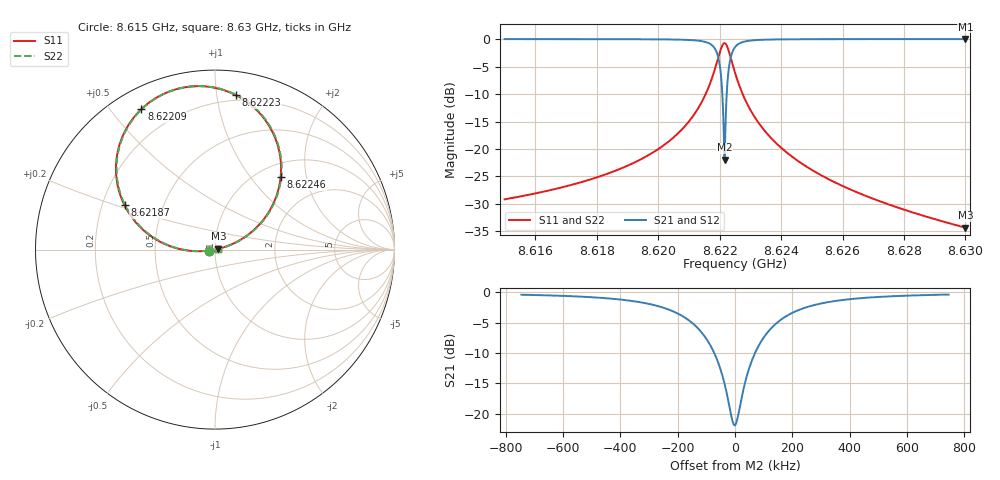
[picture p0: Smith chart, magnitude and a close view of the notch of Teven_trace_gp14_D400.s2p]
! Sonnet Data File
! From: emgraph Version : 16.52
! From Project: 171114transmon_trace_brg2
! Data is De-embedded
! Data File Written: 11/14/2017 18:06:48
!< HDATE 11/14/2017 15:42:32
!< MDATE 11/14/2017 15:42:32
!< PARAMS
!< Lj = 15.24
!< Gap = 14.0
!< Width = 10.0
!< Airgap = 6.0
!< Pwidth = 2000.0
!< Dist = 400.0
!< END PARAMS
# GHZ S MA R 51.90000
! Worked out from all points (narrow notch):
!   3597 points, 8.615 GHz to 8.63 GHz, reference 51.9 ohm
!   highest |S21| = 0.00 dB at 8.63 GHz (marker M1); lowest = -21.9 dB at 8.62216 GHz (marker M2)
!   notch at M2: 21.9 dB deep, 124 kHz wide at half that depth
!   lowest |S11| = -34.3 dB at 8.63 GHz (marker M3), VSWR 1.04, Z = 53.9 + j0.463 ohm
!   |S11| at or under -10 dB: start of sweep to 8.621545 GHz; 8.622748 GHz to end of sweep
!   |S22| runs from -34.3 to -0.7 dB; largest |S21 - S12| = 2.5e-12
!   S11 on the Smith chart (normalised r, x): 8.615 GHz: 0.93, -0.01; 8.62187 GHz: 0.29, +0.21; 8.62209 GHz: 0.08, +0.60; 8.62223 GHz: 0.16, +1.13; 8.62246 GHz: 1.24, +1.43; 8.63 GHz: 1.04, +0.01
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8.615  0.03482 -170.7  0.9993 -80.7  0.9993 -80.7  0.03482 -170.9
!< P1 F=8.615 Eeff=(6.44688234 -2.9785e-5) Z0=(51.7995732 1.19081e-4) R=0.0 C=0.0
!< P2 F=8.615 Eeff=(6.44688234 -2.9785e-5) Z0=(51.7995732 1.19081e-4) R=0.0 C=0.0
8.6175  0.04995 -171.6  0.9986 -81.6  0.9986 -81.6  0.04995 -171.9
8.62  0.09976 -174.7  0.9942 -84.4  0.9942 -84.4  0.09976 -175.0
8.620835  0.1572 -178.3  0.9856 -87.8  0.9856 -87.8  0.1572 -178.7
8.621435  0.2734 174.2  0.9554 -94.6  0.9554 -94.6  0.2734 173.9
8.6217  0.4028 165.6  0.9002 -102.5  0.9002 -102.5  0.4028 165.2
8.62187  0.5611 153.9  0.7946 -112.8  0.7946 -112.8  0.5611 153.6
8.622005  0.7556 136.3  0.5752 -127.4  0.5752 -127.4  0.7556 135.9
8.622045  0.8181 128.7  0.4639 -132.7  0.4639 -132.7  0.8181 128.4
8.622095  0.884 117.6  0.2887 -137.2  0.2887 -137.2  0.884 117.2
8.62216  0.92 101.2  0.08012 -75.4  0.08012 -75.4  0.92 100.8
8.6222  0.9042 90.9  0.2001 -22.5  0.2001 -22.5  0.9042 90.5
8.622235  0.869 82.3  0.3362 -20.9  0.3362 -20.9  0.8689 81.9
8.622275  0.8126 73.6  0.4733 -25.3  0.4733 -25.3  0.8126 73.2
8.62232  0.7406 65.1  0.596 -31.3  0.596 -31.3  0.7405 64.7
8.622455  0.545 47.9  0.8064 -45.8  0.8064 -45.8  0.545 47.5
8.6225  0.4945 44.0  0.8438 -49.1  0.8438 -49.1  0.4945 43.6
8.62282  0.2848 29.6  0.9509 -62.2  0.9509 -62.2  0.2848 29.1
8.623405  0.1537 21.2  0.9859 -69.9  0.9859 -69.9  0.1537 20.7
8.625  0.06453 15.6  0.9975 -75.1  0.9975 -75.1  0.06453 15.1
8.6275  0.03132 13.6  0.9994 -77.0  0.9994 -77.0  0.03131 12.9
8.63  0.01924 12.9  0.9998 -77.7  0.9998 -77.7  0.01924 12.1
